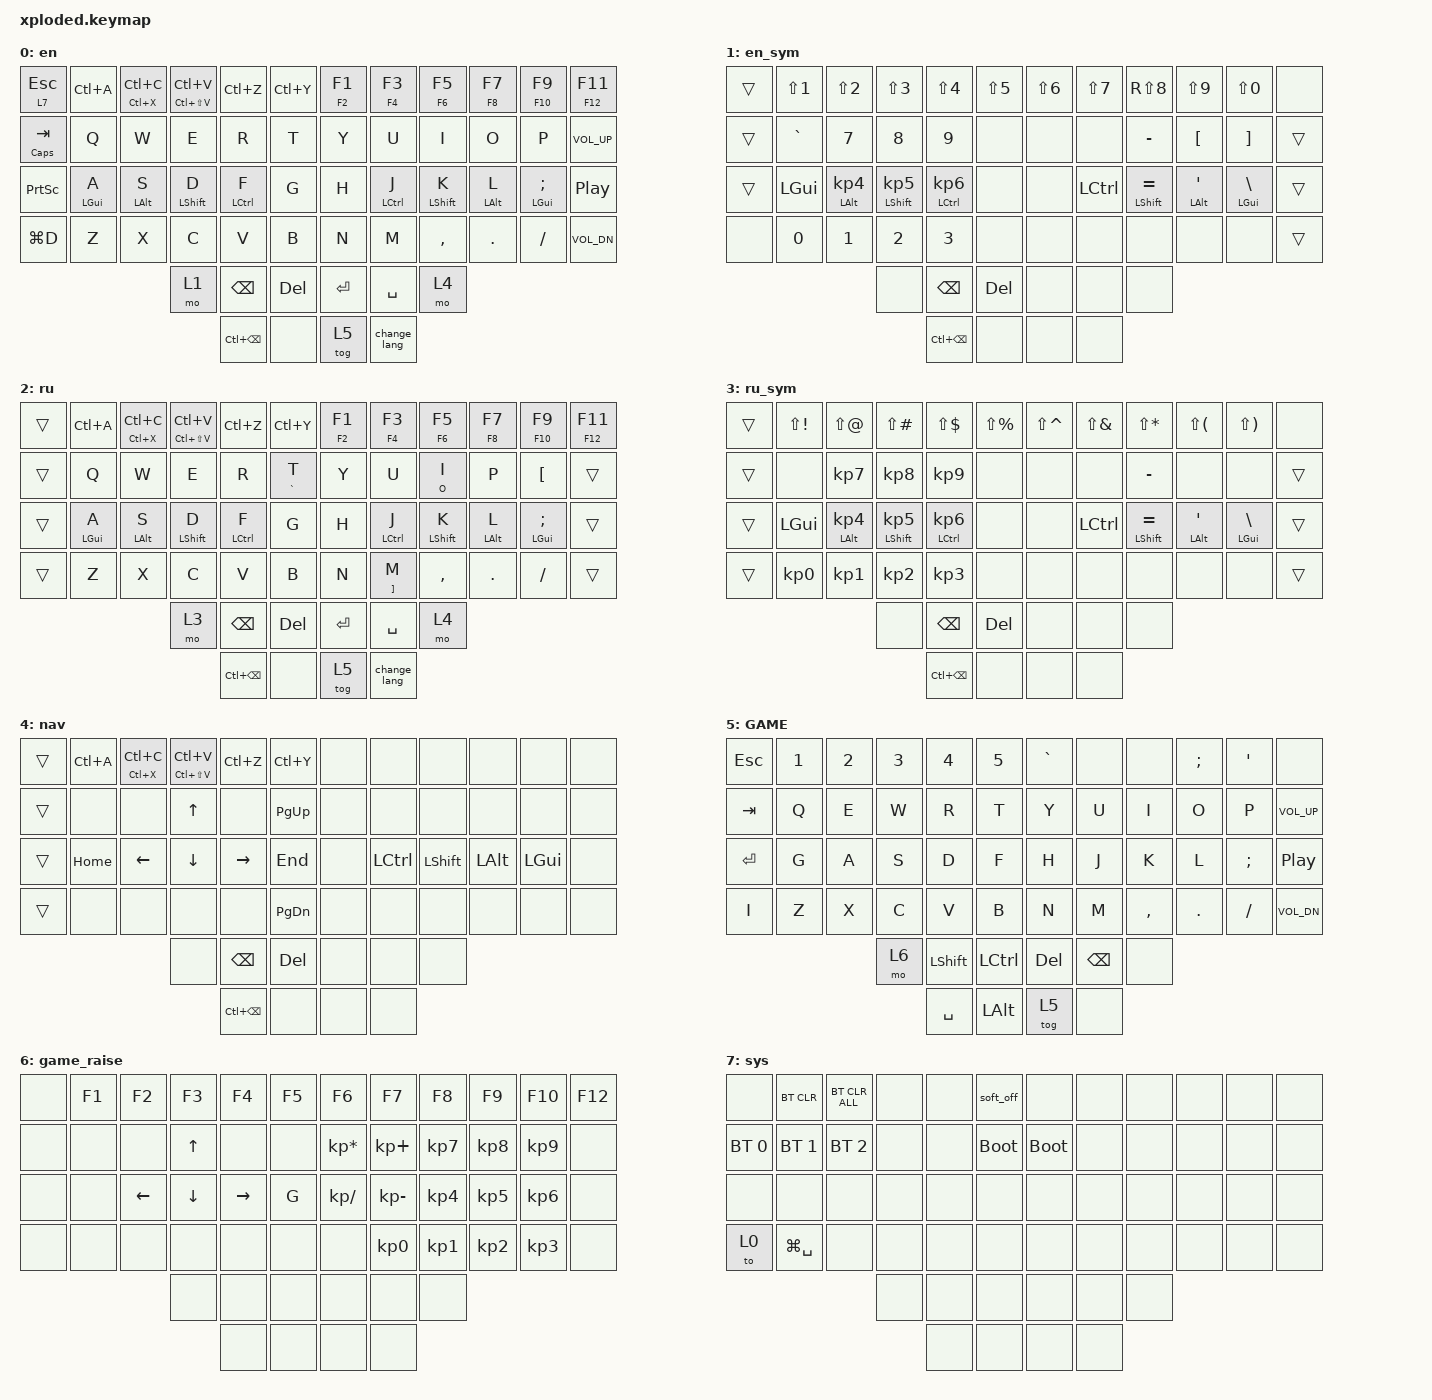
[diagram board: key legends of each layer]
/*
 * Copyright (c) 2020 The ZMK Contributors
 *
 * SPDX-License-Identifier: MIT
 */

#include <behaviors.dtsi>
#include <dt-bindings/zmk/bt.h>
#include <dt-bindings/zmk/keys.h>

&mt {
    flavor = "tap-preferred";
    tapping-term-ms = <280>;
};

/ {
    macros {
        change_lang: lang_change {
            compatible = "zmk,behavior-macro";
            #binding-cells = <0>;
            bindings = <&tog 2 &kp LG(SPACE)>;
            label = "LANG_CHANGE";
        };
    };

    combos { compatible = "zmk,combos"; };

    keymap {
        compatible = "zmk,keymap";

        en {
            bindings = <
&lt 7 ESC        &kp LC(A)   &mt LC(X) LC(C)  &mt LC(LS(V)) LC(V)  &kp LC(Z)          &kp LC(Y)     &mt F2 F1  &mt F4 F3     &mt F6 F5    &mt F8 F7   &mt F10 F9     &mt F12 F11
&mt CAPS TAB     &kp Q       &kp W            &kp E                &kp R              &kp T         &kp Y      &kp U         &kp I        &kp O       &kp P          &kp C_VOL_UP
&kp PRINTSCREEN  &mt LGUI A  &mt LALT S       &mt LSHIFT D         &mt LCTRL F        &kp G         &kp H      &mt LCTRL J   &mt LSHFT K  &mt LALT L  &mt LGUI SEMI  &kp C_PP
&kp LG(D)        &kp Z       &kp X            &kp C                &kp V              &kp B         &kp N      &kp M         &kp COMMA    &kp DOT     &kp SLASH      &kp C_VOL_DN
                                              &mo 1                &kp BACKSPACE      &kp DELETE    &kp ENTER  &kp SPACE     &mo 4
                                                                   &kp LC(BACKSPACE)  &none         &tog 5     &change_lang
            >;
        };

        en_sym {
            bindings = <
&trans  &kp LS(NUMBER_1)  &kp LS(NUMBER_2)      &kp LS(NUMBER_3)  &kp LS(NUMBER_4)   &kp LS(NUMBER_5)    &kp LS(NUMBER_6)  &kp LS(NUMBER_7)  &kp RS(N8)       &kp LS(N9)        &kp LS(N0)         &none
&trans  &kp GRAVE         &kp N7                &kp N8            &kp N9             &none               &none             &none             &kp MINUS        &kp LEFT_BRACKET  &kp RIGHT_BRACKET  &trans
&trans  &kp LEFT_GUI      &mt LALT KP_NUMBER_4  &mt LSHFT KP_N5   &mt LCTRL KP_N6    &none               &none             &kp LCTRL         &mt LSHFT EQUAL  &mt LALT SQT      &mt LGUI BSLH      &trans
&none   &kp N0            &kp N1                &kp N2            &kp N3             &none               &none             &none             &none            &none             &none              &trans
                                                &none             &kp BSPC           &kp DEL             &none             &none             &none
                                                                  &kp LC(BACKSPACE)  &none               &none             &none
            >;
        };

        ru {
            bindings = <
&trans  &kp LC(A)       &mt LC(X) LC(C)  &mt LC(LS(V)) LC(V)  &kp LC(Z)     &kp LC(Y)      &mt F2 F1  &mt F4 F3            &mt F6 F5    &mt F8 F7   &mt F10 F9          &mt F12 F11
&trans  &kp Q           &kp W            &kp E                &kp R         &mt GRAVE T    &kp Y      &kp U                &mt O I      &kp P       &kp LEFT_BRACKET    &trans
&trans  &mt LEFT_GUI A  &mt LALT S       &mt LSHFT D          &mt LCTRL F   &kp G          &kp H      &mt LCTRL J          &mt LSHFT K  &mt LALT L  &mt LGUI SEMICOLON  &trans
&trans  &kp Z           &kp X            &kp C                &kp V         &kp B          &kp N      &mt RIGHT_BRACKET M  &kp COMMA    &kp DOT     &kp FSLH            &trans
                                         &mo 3                &kp BSPC      &kp DEL        &kp RET    &kp SPACE            &mo 4
                                                              &kp LC(BSPC)  &none          &tog 5     &change_lang
            >;
        };

        ru_sym {
            bindings = <
&trans  &kp LS(EXCL)     &kp LS(AT)            &kp LS(POUND)    &kp LS(DLLR)           &kp LS(PRCNT)    &kp LS(CARET)  &kp LS(AMPS)  &kp LS(STAR)     &kp LS(LPAR)  &kp LS(RPAR)   &none
&trans  &none            &kp KP_N7             &kp KP_NUMBER_8  &kp KP_NUMBER_9        &none            &none          &none         &kp MINUS        &none         &none          &trans
&trans  &kp LEFT_GUI     &mt LALT KP_NUMBER_4  &mt LSHFT KP_N5  &mt LCTRL KP_NUMBER_6  &none            &none          &kp LCTRL     &mt LSHFT EQUAL  &mt LALT SQT  &mt LGUI BSLH  &trans
&trans  &kp KP_NUMBER_0  &kp KP_N1             &kp KP_N2        &kp KP_NUMBER_3        &none            &none          &none         &none            &none         &none          &trans
                                               &none            &kp BSPC               &kp DEL          &none          &none         &none
                                                                &kp LC(BSPC)           &none            &none          &none
            >;
        };

        nav {
            bindings = <
&trans  &kp LC(A)  &mt LC(X) LC(C)  &mt LC(LS(V)) LC(V)  &kp LC(Z)     &kp LC(Y)    &none  &none      &none      &none     &none     &none
&trans  &none      &none            &kp UP               &none         &kp PG_UP    &none  &none      &none      &none     &none     &none
&trans  &kp HOME   &kp LEFT         &kp DOWN             &kp RIGHT     &kp END      &none  &kp LCTRL  &kp LSHFT  &kp LALT  &kp LGUI  &none
&trans  &none      &none            &none                &none         &kp PG_DN    &none  &none      &none      &none     &none     &none
                                    &none                &kp BSPC      &kp DEL      &none  &none      &none
                                                         &kp LC(BSPC)  &none        &none  &none
            >;
        };

        GAME {
            bindings = <
&kp ESC    &kp NUMBER_1  &kp NUMBER_2  &kp NUMBER_3  &kp NUMBER_4  &kp N5       &kp GRAVE  &none     &none      &kp SEMI  &kp SQT   &none
&kp TAB    &kp Q         &kp E         &kp W         &kp R         &kp T        &kp Y      &kp U     &kp I      &kp O     &kp P     &kp C_VOLUME_UP
&kp ENTER  &kp G         &kp A         &kp S         &kp D         &kp F        &kp H      &kp J     &kp K      &kp L     &kp SEMI  &kp C_PP
&kp I      &kp Z         &kp X         &kp C         &kp V         &kp B        &kp N      &kp M     &kp COMMA  &kp DOT   &kp FSLH  &kp C_VOL_DN
                                       &mo 6         &kp LSHFT     &kp LCTRL    &kp DEL    &kp BSPC  &none
                                                     &kp SPACE     &kp LALT     &tog 5     &none
            >;
        };

        game_raise {
            bindings = <
&none  &kp F1  &kp F2    &kp F3    &kp F4     &kp F5    &kp F6           &kp F7        &kp F8     &kp F9     &kp F10    &kp F12
&none  &none   &none     &kp UP    &none      &none     &kp KP_MULTIPLY  &kp KP_PLUS   &kp KP_N7  &kp KP_N8  &kp KP_N9  &none
&none  &none   &kp LEFT  &kp DOWN  &kp RIGHT  &kp G     &kp KP_DIVIDE    &kp KP_MINUS  &kp KP_N4  &kp KP_N5  &kp KP_N6  &none
&none  &none   &none     &none     &none      &none     &none            &kp KP_N0     &kp KP_N1  &kp KP_N2  &kp KP_N3  &none
                         &none     &none      &none     &none            &none         &none
                                   &none      &none     &none            &none
            >;
        };

        sys {
            bindings = <
&none         &bt BT_CLR     &bt BT_CLR_ALL  &none  &none  &soft_off      &none        &none  &none  &none  &none  &none
&bt BT_SEL 0  &bt BT_SEL 1   &bt BT_SEL 2    &none  &none  &bootloader    &bootloader  &none  &none  &none  &none  &none
&none         &none          &none           &none  &none  &none          &none        &none  &none  &none  &none  &none
&to 0         &kp LG(SPACE)  &none           &none  &none  &none          &none        &none  &none  &none  &none  &none
                                             &none  &none  &none          &none        &none  &none
                                                    &none  &none          &none        &none
            >;
        };
    };

    conditional_layers { compatible = "zmk,conditional-layers"; };
};
